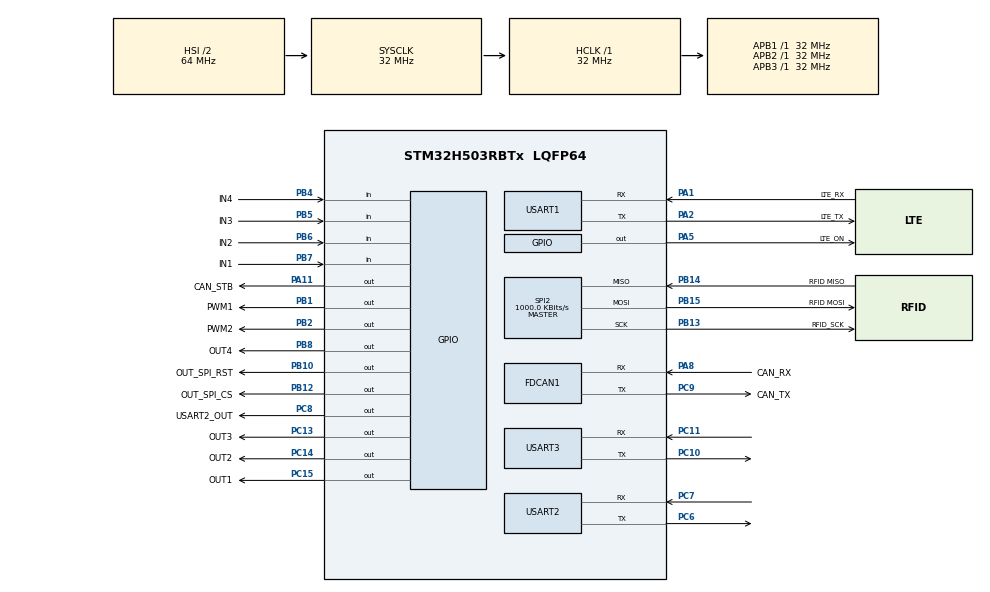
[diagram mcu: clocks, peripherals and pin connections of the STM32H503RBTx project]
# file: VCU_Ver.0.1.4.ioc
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BOOTPATH.BootPathName=LEGACY
BOOTPATH.UserSelectedBootPath=LEGACY
FDCAN1.AutoRetransmission=ENABLE
FDCAN1.CalculateBaudRateNominal=250000
FDCAN1.CalculateTimeBitNominal=4000
FDCAN1.CalculateTimeQuantumNominal=250.0
FDCAN1.DataSyncJumpWidth=1
FDCAN1.DataTimeSeg1=10
FDCAN1.DataTimeSeg2=9
FDCAN1.ExtFiltersNbr=1
FDCAN1.NominalPrescaler=16
FDCAN1.NominalSyncJumpWidth=3
FDCAN1.NominalTimeSeg1=13
FDCAN1.NominalTimeSeg2=2
FDCAN1.StdFiltersNbr=1
Mcu.Family=STM32H5
Mcu.Name=STM32H503RBTx
Mcu.Package=LQFP64
NVIC.FDCAN1_IT0_IRQn=true\:0\:0\:false\:false\:true\:true\:true\:true
NVIC.FDCAN1_IT1_IRQn=true\:0\:0\:false\:false\:true\:true\:true\:true
NVIC.PriorityGroup=NVIC_PRIORITYGROUP_4
NVIC.TIM6_IRQn=true\:15\:0\:false\:false\:true\:false\:true\:true
NVIC.TimeBase=TIM6_IRQn
NVIC.TimeBaseIP=TIM6
PA1.GPIO_Label=LTE_RX
PA1.Mode=Asynchronous
PA1.Signal=USART1_RX
PA11.GPIO_Label=CAN_STB
PA11.Signal=GPIO_Output
PA13(JTMS/SWDIO).Mode=Serial_Wire
PA13(JTMS/SWDIO).Signal=DEBUG_JTMS-SWDIO
PA14(JTCK/SWCLK).Mode=Serial_Wire
PA14(JTCK/SWCLK).Signal=DEBUG_JTCK-SWCLK
PA2.GPIO_Label=LTE_TX
PA2.Mode=Asynchronous
PA2.Signal=USART1_TX
PA5.GPIO_Label=LTE_ON
PA5.Signal=GPIO_Output
PA8.GPIO_Label=CAN_RX
PA8.Mode=FDCAN_Activate
PA8.Signal=FDCAN1_RX
PB1.GPIO_Label=PWM1
PB1.Signal=GPIO_Output
PB10.GPIO_Label=OUT_SPI_RST
PB10.GPIO_PuPd=GPIO_PULLUP
PB10.Signal=GPIO_Output
PB12.GPIO_Label=OUT_SPI_CS
PB12.Signal=GPIO_Output
PB13.GPIO_Label=RFID_SCK
PB13.Mode=Full_Duplex_Master
PB13.Signal=SPI2_SCK
PB14.GPIO_Label=RFID MISO
PB14.Mode=Full_Duplex_Master
PB14.Signal=SPI2_MISO
PB15.GPIO_Label=RFID MOSI
PB15.Mode=Full_Duplex_Master
PB15.Signal=SPI2_MOSI
PB2.GPIO_Label=PWM2
PB2.Signal=GPIO_Output
PB4(NJTRST).GPIO_Label=IN4
PB4(NJTRST).GPIO_PuPd=GPIO_PULLDOWN
PB4(NJTRST).Signal=GPIO_Input
PB5.GPIO_Label=IN3
PB5.GPIO_PuPd=GPIO_PULLDOWN
PB5.Signal=GPIO_Input
PB6.GPIO_Label=IN2
PB6.GPIO_PuPd=GPIO_PULLDOWN
PB6.Signal=GPIO_Input
PB7.GPIO_Label=IN1
PB7.GPIO_PuPd=GPIO_PULLDOWN
PB7.Signal=GPIO_Input
PB8.GPIO_Label=OUT4
PB8.Signal=GPIO_Output
PC10.Mode=Asynchronous
PC10.Signal=USART3_TX
PC11.Mode=Asynchronous
PC11.Signal=USART3_RX
PC13.GPIO_Label=OUT3
PC13.Signal=GPIO_Output
PC14-OSC32_IN(OSC32_IN).GPIO_Label=OUT2
PC14-OSC32_IN(OSC32_IN).Signal=GPIO_Output
PC15-OSC32_OUT(OSC32_OUT).GPIO_Label=OUT1
PC15-OSC32_OUT(OSC32_OUT).Signal=GPIO_Output
PC6.Mode=Asynchronous
PC6.Signal=USART2_TX
PC7.Mode=Asynchronous
PC7.Signal=USART2_RX
PC8.GPIO_Label=USART2_OUT
PC8.GPIO_PuPd=GPIO_PULLUP
PC8.Signal=GPIO_Output
PC9.GPIO_Label=CAN_TX
PC9.Mode=FDCAN_Activate
PC9.Signal=FDCAN1_TX
ProjectManager.HeapSize=0x200
ProjectManager.StackSize=0x400
ProjectManager.TargetToolchain=STM32CubeIDE
RCC.ADCFreq_Value=32000000
RCC.AHBFreq_Value=32000000
RCC.APB1Freq_Value=32000000
RCC.APB1TimFreq_Value=32000000
RCC.APB2Freq_Value=32000000
RCC.APB2TimFreq_Value=32000000
RCC.APB3Freq_Value=32000000
RCC.CSI_VALUE=4000000
RCC.CortexFreq_Value=32000000
RCC.EPOD_VALUE=4000000
RCC.FDCANClockSelection=RCC_FDCANCLKSOURCE_PLL1Q
RCC.HCLKFreq_Value=32000000
RCC.HSE_VALUE=25000000
RCC.HSI48_VALUE=48000000
RCC.HSI_VALUE=64000000
RCC.LSE_VALUE=32768
RCC.LSIRC_VALUE=32000
RCC.PLLFRACN=0
RCC.PLLN=32
RCC.SYSCLKFreq_VALUE=32000000
RCC.USBFreq_Value=48000000
RCC.VCOOutputFreq_Value=128000000
SPI2.BaudRatePrescaler=SPI_BAUDRATEPRESCALER_64
SPI2.CalculateBaudRate=1000.0 KBits/s
SPI2.DataSize=SPI_DATASIZE_8BIT
SPI2.Direction=SPI_DIRECTION_2LINES
SPI2.Mode=SPI_MODE_MASTER
SPI2.NSSPMode=SPI_NSS_PULSE_DISABLE
SPI2.VirtualType=VM_MASTER
USART1.VirtualMode-Asynchronous=VM_ASYNC
USART2.VirtualMode-Asynchronous=VM_ASYNC
USART3.VirtualMode-Asynchronous=VM_ASYNC
VP_BOOTPATH_VS_BOOTPATH.Mode=BP_Activate
VP_CORTEX_M33_NS_VS_Hclk.Mode=Hclk_Mode
VP_MEMORYMAP_VS_MEMORYMAP.Mode=CurAppReg
VP_PWR_VS_DBSignals.Mode=DisableDeadBatterySignals
VP_PWR_VS_LPOM.Mode=PowerOptimisation
VP_PWR_VS_SECSignals.Mode=Security/Privilege
VP_SYS_VS_tim6.Mode=TIM6
board=custom

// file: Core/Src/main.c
/* USER CODE BEGIN Header */
/**
  ******************************************************************************
  * @file           : main.c
  * @brief          : Main program body
  ******************************************************************************
  * @attention
  *
  * Copyright (c) 2026 STMicroelectronics.
  * All rights reserved.
  *
  * This software is licensed under terms that can be found in the LICENSE file
  * in the root directory of this software component.
  * If no LICENSE file comes with this software, it is provided AS-IS.
  *
  ******************************************************************************
  */
/* USER CODE END Header */
#include "main.h"

/* USER CODE BEGIN Includes */
#include "GPIO.h"
//#include "GPIO_config.h"
#include "steeringLock_control.h"
#include "seatLock_control.h"
#include "system/system.h"
#include "CAN_config.h"
#include "can_protocol/CAN_handler.h"
#include "can_protocol/CAN_dataBroadcast.h"
#include "lte_protocol/lte_handler.h"
//#include "e_key/RFID/RFID_manager.h"
#include "e_key/RFID/RFID_handler.h"
/* USER CODE END Includes */

FDCAN_HandleTypeDef hfdcan1;

SPI_HandleTypeDef hspi2;

UART_HandleTypeDef huart1;
UART_HandleTypeDef huart2;
UART_HandleTypeDef huart3;

/* USER CODE BEGIN PV */

volatile uint32_t dwt_a = 0;
volatile uint32_t dwt_b = 0;
uint8_t uid[RFID_UID_LENGTH];
/* USER CODE END PV */

void SystemClock_Config(void);
static void MX_GPIO_Init(void);
static void MX_FDCAN1_Init(void);
static void MX_USART1_UART_Init(void);
static void MX_USART2_UART_Init(void);
static void MX_USART3_UART_Init(void);
static void MX_SPI2_Init(void);

int main(void)
{

  /* MCU Configuration--------------------------------------------------------*/

  /* Reset of all peripherals, Initializes the Flash interface and the Systick. */
  HAL_Init();

  /* Configure the system clock */
  SystemClock_Config();

  /* Initialize all configured peripherals */
  MX_GPIO_Init();
  MX_FDCAN1_Init();
  MX_USART1_UART_Init();
  MX_USART2_UART_Init();
  MX_USART3_UART_Init();
  MX_SPI2_Init();
  /* USER CODE BEGIN 2 */
//  steeringLock_Init();
//  system_init();
//  seatLock_Init();
  LTEhandler_init();
  CAN_Handler_Init();
  CAN_VCUbroadcast_Init();
//  RFID_managerInit();
//  RFID_handleInit();

//  dwt_a = DWT->CYCCNT;
//  HAL_Delay(10);
//  dwt_b = DWT->CYCCNT;

  /* USER CODE END 2 */

  /* Infinite loop */
  /* USER CODE BEGIN WHILE */
  while (1)
  {
//	  steeringLock_Task();

//	  system_task();
	  CAN_VCUbroadcast_Task();
	  CAN_Handler_UpdateDebug();
//	  RFID_readUID(uid);
//	  HAL_Delay(100);
//	  HAL_Delay(1000U);
//	  seatLock_runAutoTest();
//	  RFID_handleTask();
//	  seatLock_task();
	  LTEhandler_task();
    /* USER CODE END WHILE */

  }
}

void SystemClock_Config(void)
{
  RCC_OscInitTypeDef RCC_OscInitStruct = {0};
  RCC_ClkInitTypeDef RCC_ClkInitStruct = {0};

  /** Configure the main internal regulator output voltage
  */
  __HAL_PWR_VOLTAGESCALING_CONFIG(PWR_REGULATOR_VOLTAGE_SCALE3);

  while(!__HAL_PWR_GET_FLAG(PWR_FLAG_VOSRDY)) {}

  /** Initializes the RCC Oscillators according to the specified parameters
  * in the RCC_OscInitTypeDef structure.
  */
  RCC_OscInitStruct.OscillatorType = RCC_OSCILLATORTYPE_HSI|RCC_OSCILLATORTYPE_CSI;
  RCC_OscInitStruct.HSIState = RCC_HSI_ON;
  RCC_OscInitStruct.HSIDiv = RCC_HSI_DIV2;
  RCC_OscInitStruct.HSICalibrationValue = RCC_HSICALIBRATION_DEFAULT;
  RCC_OscInitStruct.CSIState = RCC_CSI_ON;
  RCC_OscInitStruct.CSICalibrationValue = RCC_CSICALIBRATION_DEFAULT;
  RCC_OscInitStruct.PLL.PLLState = RCC_PLL_ON;
  RCC_OscInitStruct.PLL.PLLSource = RCC_PLL1_SOURCE_CSI;
  RCC_OscInitStruct.PLL.PLLM = 1;
  RCC_OscInitStruct.PLL.PLLN = 32;
  RCC_OscInitStruct.PLL.PLLP = 2;
  RCC_OscInitStruct.PLL.PLLQ = 2;
  RCC_OscInitStruct.PLL.PLLR = 2;
  RCC_OscInitStruct.PLL.PLLRGE = RCC_PLL1_VCIRANGE_2;
  RCC_OscInitStruct.PLL.PLLVCOSEL = RCC_PLL1_VCORANGE_WIDE;
  RCC_OscInitStruct.PLL.PLLFRACN = 0;
  if (HAL_RCC_OscConfig(&RCC_OscInitStruct) != HAL_OK)
  {
    Error_Handler();
  }

  /** Initializes the CPU, AHB and APB buses clocks
  */
  RCC_ClkInitStruct.ClockType = RCC_CLOCKTYPE_HCLK|RCC_CLOCKTYPE_SYSCLK
                              |RCC_CLOCKTYPE_PCLK1|RCC_CLOCKTYPE_PCLK2
                              |RCC_CLOCKTYPE_PCLK3;
  RCC_ClkInitStruct.SYSCLKSource = RCC_SYSCLKSOURCE_HSI;
  RCC_ClkInitStruct.AHBCLKDivider = RCC_SYSCLK_DIV1;
  RCC_ClkInitStruct.APB1CLKDivider = RCC_HCLK_DIV1;
  RCC_ClkInitStruct.APB2CLKDivider = RCC_HCLK_DIV1;
  RCC_ClkInitStruct.APB3CLKDivider = RCC_HCLK_DIV1;

  if (HAL_RCC_ClockConfig(&RCC_ClkInitStruct, FLASH_LATENCY_1) != HAL_OK)
  {
    Error_Handler();
  }

  /** Configure the programming delay
  */
  __HAL_FLASH_SET_PROGRAM_DELAY(FLASH_PROGRAMMING_DELAY_0);
}

static void MX_FDCAN1_Init(void)
{

  hfdcan1.Instance = FDCAN1;
  hfdcan1.Init.ClockDivider = FDCAN_CLOCK_DIV1;
  hfdcan1.Init.FrameFormat = FDCAN_FRAME_CLASSIC;
  hfdcan1.Init.Mode = FDCAN_MODE_NORMAL;
  hfdcan1.Init.AutoRetransmission = ENABLE;
  hfdcan1.Init.TransmitPause = DISABLE;
  hfdcan1.Init.ProtocolException = DISABLE;
  hfdcan1.Init.NominalPrescaler = 16;
  hfdcan1.Init.NominalSyncJumpWidth = 3;
  hfdcan1.Init.NominalTimeSeg1 = 13;
  hfdcan1.Init.NominalTimeSeg2 = 2;
  hfdcan1.Init.DataPrescaler = 1;
  hfdcan1.Init.DataSyncJumpWidth = 1;
  hfdcan1.Init.DataTimeSeg1 = 10;
  hfdcan1.Init.DataTimeSeg2 = 9;
  hfdcan1.Init.StdFiltersNbr = 1;
  hfdcan1.Init.ExtFiltersNbr = 1;
  hfdcan1.Init.TxFifoQueueMode = FDCAN_TX_FIFO_OPERATION;
  if (HAL_FDCAN_Init(&hfdcan1) != HAL_OK)
  {
    Error_Handler();
  }

}

static void MX_SPI2_Init(void)
{

  /* SPI2 parameter configuration*/
  hspi2.Instance = SPI2;
  hspi2.Init.Mode = SPI_MODE_MASTER;
  hspi2.Init.Direction = SPI_DIRECTION_2LINES;
  hspi2.Init.DataSize = SPI_DATASIZE_8BIT;
  hspi2.Init.CLKPolarity = SPI_POLARITY_LOW;
  hspi2.Init.CLKPhase = SPI_PHASE_1EDGE;
  hspi2.Init.NSS = SPI_NSS_SOFT;
  hspi2.Init.BaudRatePrescaler = SPI_BAUDRATEPRESCALER_64;
  hspi2.Init.FirstBit = SPI_FIRSTBIT_MSB;
  hspi2.Init.TIMode = SPI_TIMODE_DISABLE;
  hspi2.Init.CRCCalculation = SPI_CRCCALCULATION_DISABLE;
  hspi2.Init.CRCPolynomial = 0x7;
  hspi2.Init.NSSPMode = SPI_NSS_PULSE_DISABLE;
  hspi2.Init.NSSPolarity = SPI_NSS_POLARITY_LOW;
  hspi2.Init.FifoThreshold = SPI_FIFO_THRESHOLD_01DATA;
  hspi2.Init.MasterSSIdleness = SPI_MASTER_SS_IDLENESS_00CYCLE;
  hspi2.Init.MasterInterDataIdleness = SPI_MASTER_INTERDATA_IDLENESS_00CYCLE;
  hspi2.Init.MasterReceiverAutoSusp = SPI_MASTER_RX_AUTOSUSP_DISABLE;
  hspi2.Init.MasterKeepIOState = SPI_MASTER_KEEP_IO_STATE_DISABLE;
  hspi2.Init.IOSwap = SPI_IO_SWAP_DISABLE;
  hspi2.Init.ReadyMasterManagement = SPI_RDY_MASTER_MANAGEMENT_INTERNALLY;
  hspi2.Init.ReadyPolarity = SPI_RDY_POLARITY_HIGH;
  if (HAL_SPI_Init(&hspi2) != HAL_OK)
  {
    Error_Handler();
  }

}

static void MX_USART1_UART_Init(void)
{

  huart1.Instance = USART1;
  huart1.Init.BaudRate = 115200;
  huart1.Init.WordLength = UART_WORDLENGTH_8B;
  huart1.Init.StopBits = UART_STOPBITS_1;
  huart1.Init.Parity = UART_PARITY_NONE;
  huart1.Init.Mode = UART_MODE_TX_RX;
  huart1.Init.HwFlowCtl = UART_HWCONTROL_NONE;
  huart1.Init.OverSampling = UART_OVERSAMPLING_16;
  huart1.Init.OneBitSampling = UART_ONE_BIT_SAMPLE_DISABLE;
  huart1.Init.ClockPrescaler = UART_PRESCALER_DIV1;
  huart1.AdvancedInit.AdvFeatureInit = UART_ADVFEATURE_NO_INIT;
  if (HAL_UART_Init(&huart1) != HAL_OK)
  {
    Error_Handler();
  }
  if (HAL_UARTEx_SetTxFifoThreshold(&huart1, UART_TXFIFO_THRESHOLD_1_8) != HAL_OK)
  {
    Error_Handler();
  }
  if (HAL_UARTEx_SetRxFifoThreshold(&huart1, UART_RXFIFO_THRESHOLD_1_8) != HAL_OK)
  {
    Error_Handler();
  }
  if (HAL_UARTEx_DisableFifoMode(&huart1) != HAL_OK)
  {
    Error_Handler();
  }

}

static void MX_USART2_UART_Init(void)
{

  huart2.Instance = USART2;
  huart2.Init.BaudRate = 115200;
  huart2.Init.WordLength = UART_WORDLENGTH_8B;
  huart2.Init.StopBits = UART_STOPBITS_1;
  huart2.Init.Parity = UART_PARITY_NONE;
  huart2.Init.Mode = UART_MODE_TX_RX;
  huart2.Init.HwFlowCtl = UART_HWCONTROL_NONE;
  huart2.Init.OverSampling = UART_OVERSAMPLING_16;
  huart2.Init.OneBitSampling = UART_ONE_BIT_SAMPLE_DISABLE;
  huart2.Init.ClockPrescaler = UART_PRESCALER_DIV1;
  huart2.AdvancedInit.AdvFeatureInit = UART_ADVFEATURE_NO_INIT;
  if (HAL_UART_Init(&huart2) != HAL_OK)
  {
    Error_Handler();
  }
  if (HAL_UARTEx_SetTxFifoThreshold(&huart2, UART_TXFIFO_THRESHOLD_1_8) != HAL_OK)
  {
    Error_Handler();
  }
  if (HAL_UARTEx_SetRxFifoThreshold(&huart2, UART_RXFIFO_THRESHOLD_1_8) != HAL_OK)
  {
    Error_Handler();
  }
  if (HAL_UARTEx_DisableFifoMode(&huart2) != HAL_OK)
  {
    Error_Handler();
  }

}

static void MX_USART3_UART_Init(void)
{

  huart3.Instance = USART3;
  huart3.Init.BaudRate = 115200;
  huart3.Init.WordLength = UART_WORDLENGTH_8B;
  huart3.Init.StopBits = UART_STOPBITS_1;
  huart3.Init.Parity = UART_PARITY_NONE;
  huart3.Init.Mode = UART_MODE_TX_RX;
  huart3.Init.HwFlowCtl = UART_HWCONTROL_NONE;
  huart3.Init.OverSampling = UART_OVERSAMPLING_16;
  huart3.Init.OneBitSampling = UART_ONE_BIT_SAMPLE_DISABLE;
  huart3.Init.ClockPrescaler = UART_PRESCALER_DIV1;
  huart3.AdvancedInit.AdvFeatureInit = UART_ADVFEATURE_NO_INIT;
  if (HAL_UART_Init(&huart3) != HAL_OK)
  {
    Error_Handler();
  }
  if (HAL_UARTEx_SetTxFifoThreshold(&huart3, UART_TXFIFO_THRESHOLD_1_8) != HAL_OK)
  {
    Error_Handler();
  }
  if (HAL_UARTEx_SetRxFifoThreshold(&huart3, UART_RXFIFO_THRESHOLD_1_8) != HAL_OK)
  {
    Error_Handler();
  }
  if (HAL_UARTEx_DisableFifoMode(&huart3) != HAL_OK)
  {
    Error_Handler();
  }

}

static void MX_GPIO_Init(void)
{
  GPIO_InitTypeDef GPIO_InitStruct = {0};

  /* GPIO Ports Clock Enable */
  __HAL_RCC_GPIOC_CLK_ENABLE();
  __HAL_RCC_GPIOA_CLK_ENABLE();
  __HAL_RCC_GPIOB_CLK_ENABLE();

  /*Configure GPIO pin Output Level */
  HAL_GPIO_WritePin(GPIOC, OUT3_Pin|OUT2_Pin|OUT1_Pin|USART2_OUT_Pin, GPIO_PIN_RESET);

  /*Configure GPIO pin Output Level */
  HAL_GPIO_WritePin(GPIOA, LTE_ON_Pin|CAN_STB_Pin, GPIO_PIN_RESET);

  /*Configure GPIO pin Output Level */
  HAL_GPIO_WritePin(GPIOB, PWM1_Pin|PWM2_Pin|OUT_SPI_RST_Pin|OUT_SPI_CS_Pin
                          |OUT4_Pin, GPIO_PIN_RESET);

  /*Configure GPIO pins : OUT3_Pin OUT2_Pin OUT1_Pin */
  GPIO_InitStruct.Pin = OUT3_Pin|OUT2_Pin|OUT1_Pin;
  GPIO_InitStruct.Mode = GPIO_MODE_OUTPUT_PP;
  GPIO_InitStruct.Pull = GPIO_NOPULL;
  GPIO_InitStruct.Speed = GPIO_SPEED_FREQ_LOW;
  HAL_GPIO_Init(GPIOC, &GPIO_InitStruct);

  /*Configure GPIO pins : LTE_ON_Pin CAN_STB_Pin */
  GPIO_InitStruct.Pin = LTE_ON_Pin|CAN_STB_Pin;
  GPIO_InitStruct.Mode = GPIO_MODE_OUTPUT_PP;
  GPIO_InitStruct.Pull = GPIO_NOPULL;
  GPIO_InitStruct.Speed = GPIO_SPEED_FREQ_LOW;
  HAL_GPIO_Init(GPIOA, &GPIO_InitStruct);

  /*Configure GPIO pins : PWM1_Pin PWM2_Pin OUT_SPI_CS_Pin OUT4_Pin */
  GPIO_InitStruct.Pin = PWM1_Pin|PWM2_Pin|OUT_SPI_CS_Pin|OUT4_Pin;
  GPIO_InitStruct.Mode = GPIO_MODE_OUTPUT_PP;
  GPIO_InitStruct.Pull = GPIO_NOPULL;
  GPIO_InitStruct.Speed = GPIO_SPEED_FREQ_LOW;
  HAL_GPIO_Init(GPIOB, &GPIO_InitStruct);

  /*Configure GPIO pin : OUT_SPI_RST_Pin */
  GPIO_InitStruct.Pin = OUT_SPI_RST_Pin;
  GPIO_InitStruct.Mode = GPIO_MODE_OUTPUT_PP;
  GPIO_InitStruct.Pull = GPIO_PULLUP;
  GPIO_InitStruct.Speed = GPIO_SPEED_FREQ_LOW;
  HAL_GPIO_Init(OUT_SPI_RST_GPIO_Port, &GPIO_InitStruct);

  /*Configure GPIO pin : USART2_OUT_Pin */
  GPIO_InitStruct.Pin = USART2_OUT_Pin;
  GPIO_InitStruct.Mode = GPIO_MODE_OUTPUT_PP;
  GPIO_InitStruct.Pull = GPIO_PULLUP;
  GPIO_InitStruct.Speed = GPIO_SPEED_FREQ_LOW;
  HAL_GPIO_Init(USART2_OUT_GPIO_Port, &GPIO_InitStruct);

  /*Configure GPIO pins : IN4_Pin IN3_Pin IN2_Pin IN1_Pin */
  GPIO_InitStruct.Pin = IN4_Pin|IN3_Pin|IN2_Pin|IN1_Pin;
  GPIO_InitStruct.Mode = GPIO_MODE_INPUT;
  GPIO_InitStruct.Pull = GPIO_PULLDOWN;
  HAL_GPIO_Init(GPIOB, &GPIO_InitStruct);

/* USER CODE BEGIN MX_GPIO_Init_2 */
//  GPIO_InitTypeDef GPIO_InitStruct = {0};

//  HAL_SYSCFG_DisableIOCompensationCell();
//  GPIO_InitStruct.Pin = GPIO_PIN_4;
//  GPIO_InitStruct.Mode = GPIO_MODE_INPUT;
//  GPIO_InitStruct.Pull = GPIO_PULLDOWN;
//  HAL_GPIO_Init(GPIOB, &GPIO_InitStruct);
/* USER CODE END MX_GPIO_Init_2 */
}

void HAL_TIM_PeriodElapsedCallback(TIM_HandleTypeDef *htim)
{
  if (htim->Instance == TIM6) {
    HAL_IncTick();
  }
}

void Error_Handler(void)
{
  __disable_irq();
  while (1)
  {
  }
}
